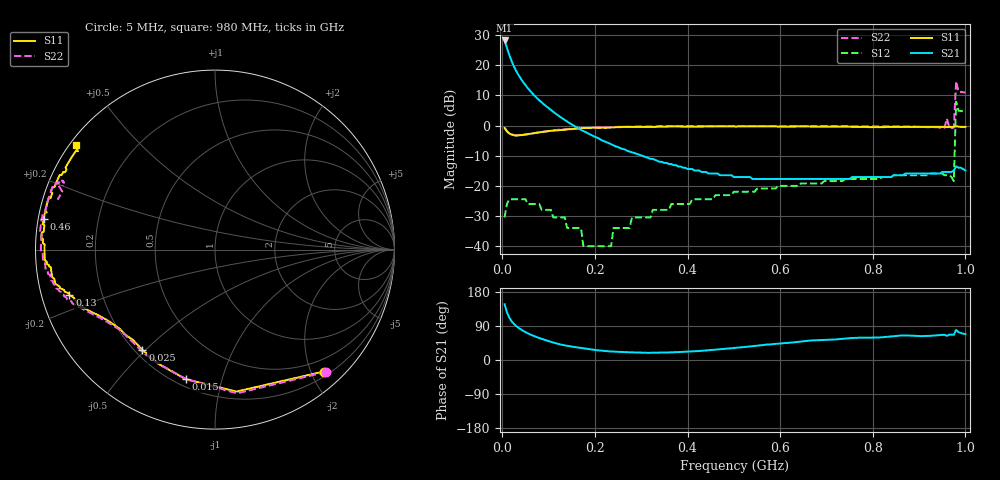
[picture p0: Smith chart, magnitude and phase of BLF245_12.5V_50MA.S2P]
# HZ S MA R 50
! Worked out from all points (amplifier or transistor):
!   200 points, 5 MHz to 1 GHz, reference 50 ohm
!   highest |S21| = 28.2 dB at 5 MHz (marker M1)
!   |S21| within 3 dB of that: start of sweep to 11.22 MHz
!   unconditionally stable (mu >= 1): 175 MHz to 192.5 MHz; 206.3 MHz to 236.6 MHz; 610.6 MHz to 955.6 MHz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
!   at 170 MHz: K = 0.27, MSG = 16.3 dB, |S12| = -34.0 dB
!   at 505 MHz: K = 0.83, MSG = 2.4 dB, |S12| = -21.9 dB
!   at 1 GHz: K = -2.24, MSG = -9.8 dB, |S12| = 4.6 dB
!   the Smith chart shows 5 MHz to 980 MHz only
!   S11 on the Smith chart (normalised r, x): 5 MHz: 0.28, -2.20; 15 MHz: 0.24, -0.77; 25 MHz: 0.23, -0.49; 130 MHz: 0.08, -0.15; 460 MHz: 0.02, +0.09; 980 MHz: 0.02, +0.33
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5000000  0.91 -48.3  25.72 147.1  0.03 57.9  0.92 -47.8
1e7  0.8 -81.4  19.43 125.8  0.05 36.8  0.81 -81.3
1.5e7  0.74 -102.8  14.9 112.0  0.06 23.5  0.74 -102.4
2e7  0.71 -116.7  11.79 102.4  0.06 15.0  0.71 -115.5
2.5e7  0.69 -125.9  9.6 95.3  0.06 8.5  0.7 -124.7
4e7  0.69 -140.3  5.97 80.8  0.06 -4.4  0.69 -139.0
6e7  0.73 -148.6  3.76 67.5  0.05 -14.8  0.73 -147.2
9e7  0.79 -155.1  2.24 53.7  0.04 -23.8  0.79 -154.2
1.3e8  0.85 -162.6  1.31 39.9  0.03 -27.6  0.86 -160.8
1.75e8  0.91 -167.9  0.81 30.8  0.01 -8.4  0.91 -166.3
3.4e8  0.96 177.6  0.25 19.4  0.04 85.7  0.97 -179.3
4.6e8  0.97 170.0  0.16 27.2  0.07 86.2  0.97 174.5
5.05e8  0.96 167.5  0.14 32.2  0.08 84.5  0.98 172.4
6.7e8  0.96 158.6  0.13 51.8  0.11 81.4  0.97 165.6
8.35e8  0.95 151.0  0.14 61.6  0.14 80.2  0.97 159.2
9.5e8  0.95 144.9  0.17 66.3  0.16 74.1  0.93 155.7
9.6e8  0.94 144.3  0.17 63.6  0.15 -142.2  1.3 -171.2
9.65e8  0.95 144.2  0.17 66.8  0.15 74.9  0.94 157.8
9.75e8  0.95 143.7  0.18 66.5  0.12 69.6  0.92 162.4
9.8e8  0.97 143.2  0.21 79.3  2.49 39.9  5.44 42.2
9.85e8  0.96 143.1  0.2 73.5  1.76 41.6  3.67 47.3
1e9  0.95 142.7  0.18 68.2  1.7 40.5  3.52 46.0
